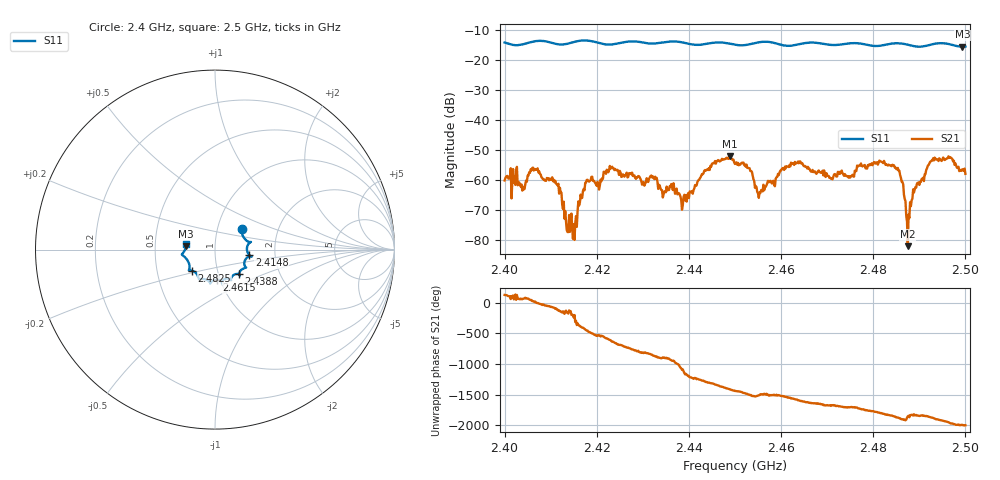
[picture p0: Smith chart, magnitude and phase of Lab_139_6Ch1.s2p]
# Hz S RI R 50
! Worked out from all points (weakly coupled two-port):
!   601 points, 2.4 GHz to 2.5 GHz, reference 50 ohm
!   highest |S21| = -52.17 dB at 2.4488 GHz (marker M1); lowest = -82.2 dB at 2.4875 GHz (marker M2)
!   lowest |S11| = -15.8 dB at 2.4993 GHz (marker M3), VSWR 1.39, Z = 36 + j1.33 ohm
!   |S11| at or under -10 dB: start of sweep to end of sweep
!   S12 and S22 are empty: the file has one direction only
!   S11 on the Smith chart (normalised r, x): 2.4 GHz: 1.31, +0.32; 2.4148 GHz: 1.47, -0.10; 2.4388 GHz: 1.25, -0.36; 2.4615 GHz: 0.97, -0.34; 2.4825 GHz: 0.75, -0.18; 2.5 GHz: 0.72, +0.04
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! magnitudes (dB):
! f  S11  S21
! 2.4 GHz  -14.3  -60.3
! 2.4105 GHz  -14.5  -60.6
! 2.4137 GHz  -14.7  -77.5
! 2.4148 GHz  -14.3  -79.8
! 2.4167 GHz  -13.7  -66.2
! 2.4232 GHz  -15.0  -56.2
! 2.4333 GHz  -14.5  -63.1
! 2.4388 GHz  -14.4  -65.9
! 2.4488 GHz  -14.7  -52.2
! 2.45 GHz  -15.0  -54.8
! 2.453 GHz  -15.0  -56.2
! 2.4553 GHz  -14.2  -64.2
! 2.4615 GHz  -15.4  -55.7
! 2.4667 GHz  -14.3  -57.4
! 2.4825 GHz  -15.1  -54.4
! 2.4833 GHz  -14.9  -55.0
! 2.4858 GHz  -14.6  -58.5
! 2.4875 GHz  -15.1  -82.2
! 2.4892 GHz  -15.6  -62.5
! 2.4928 GHz  -14.9  -53.7
! 2.4993 GHz  -15.8  -56.6
! 2.5 GHz  -15.7  -58.1
